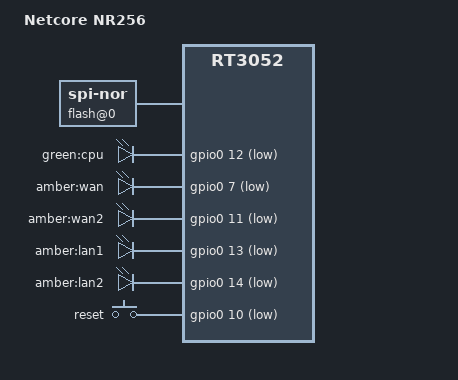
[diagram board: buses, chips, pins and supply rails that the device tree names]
/dts-v1/;

#include "rt3050.dtsi"

#include <dt-bindings/gpio/gpio.h>
#include <dt-bindings/input/input.h>

/ {
	compatible = "netcore,nr256", "ralink,rt3052-soc";
	model = "Netcore NR256";

	aliases {
		led-boot = &led_cpu;
		led-failsafe = &led_cpu;
		led-running = &led_cpu;
		led-upgrade = &led_cpu;
	};

    flash@0 {
           compatible = "jedec,spi-nor";
           reg = <0>;
           spi-max-frequency = <10000000>;

		partitions {
			compatible = "fixed-partitions";
			#address-cells = <1>;
			#size-cells = <1>;

			partition@0 {
				label = "u-boot";
				reg = <0x0 0x20000>;
				read-only;
			};

			partition@20000 {
				label = "u-boot-env";
				reg = <0x20000 0x10000>;
				read-only;
			};

			factory: partition@30000 {
				label = "factory";
				reg = <0x30000 0x10000>;
				read-only;
			};

			partition@40000 {
				compatible = "denx,uimage";
				label = "firmware";
				reg = <0x40000 0x7b0000>;
			};
		};
	};

	leds {
		compatible = "gpio-leds";

		led_cpu: cpu {
			label = "green:cpu";
			gpios = <&gpio0 12 GPIO_ACTIVE_LOW>;
		};
		wan {
			label = "amber:wan";
			gpios = <&gpio0 7 GPIO_ACTIVE_LOW>;
		};

		wan2 {
			label = "amber:wan2";
			gpios = <&gpio0 11 GPIO_ACTIVE_LOW>;
		};

		lan1 {
			label = "amber:lan1";
			gpios = <&gpio0 13 GPIO_ACTIVE_LOW>;
		};

		lan2 {
			label = "amber:lan2";
			gpios = <&gpio0 14 GPIO_ACTIVE_LOW>;
		};

	};

	keys {
		compatible = "gpio-keys-polled";
		poll-interval = <10>;

		reset {
			label = "reset";
			gpios = <&gpio0 10 GPIO_ACTIVE_LOW>;
			linux,code = <KEY_RESTART>;
		};
	};
};

&pinctrl {
	state_default: pinctrl0 {
		gpio {
			ralink,group = "spi", "i2c", "jtag", "rgmii", "mdio", "uartf";
			ralink,function = "gpio";
		};
	};
};

&ethernet {
	mtd-mac-address = <&factory 0x28>;
};

&esw {
	mediatek,portmap = <0x2f>;
};
